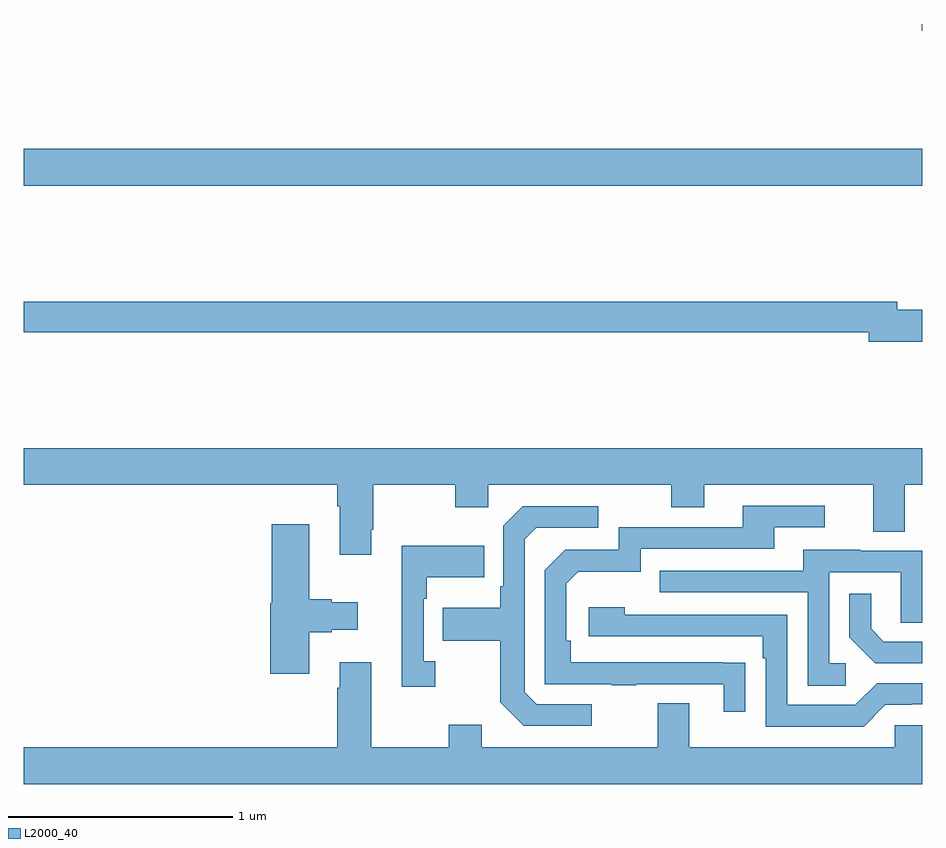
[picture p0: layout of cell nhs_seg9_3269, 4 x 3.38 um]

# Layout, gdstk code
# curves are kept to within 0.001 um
import gdstk
lib = gdstk.Library(unit=1e-6, precision=1e-09)
def R(c, l, rs):  # rectangles x0, y0, x1, y1
    for r in rs: c.add(gdstk.rectangle(r[:2], r[2:], *l))
def P(c, l, *ps):  # polygons
    for p in ps: c.add(gdstk.Polygon(p, *l))
L2000_40 = (2000, 40)

nhs_seg9_3269 = lib.new_cell('nhs_seg9_3269')
R(nhs_seg9_3269, L2000_40, [(299,1169.78,303,1169.944), (302.999,1170.47,303,1170.5)])
P(nhs_seg9_3269, L2000_40, [(303,1169.228),(302.89,1169.228),(302.89,1169.264),(299,1169.264),(299,1169.128),(302.762,1169.128),(302.762,1169.086),(303,1169.086)],
  [(300.547,1168.249),(300.555,1168.249),(300.555,1168.448),(300.922,1168.448),(300.922,1168.349),(301.068,1168.349),(301.068,1168.448),(301.882,1168.448),(301.882,1168.349),(302.029,1168.349),(302.029,1168.448),(302.783,1168.448),(302.783,1168.24),(302.923,1168.24),(302.923,1168.448),(303,1168.448),(303,1168.612),(299,1168.612),(299,1168.448),(300.395,1168.448),(300.395,1168.352),(300.407,1168.352),(300.407,1168.137),(300.547,1168.137)],
  [(302.213,1167.656),(301.436,1167.657),(301.436,1167.754),(301.416,1167.754),(301.416,1168.008),(301.469,1168.061),(301.746,1168.061),(301.746,1168.164),(302.341,1168.164),(302.341,1168.26),(302.566,1168.26),(302.566,1168.356),(302.201,1168.356),(302.201,1168.26),(301.65,1168.26),(301.65,1168.158),(301.41,1168.158),(301.32,1168.068),(301.32,1167.561),(301.615,1167.561),(301.615,1167.556),(301.727,1167.556),(301.727,1167.561),(302.117,1167.561),(302.117,1167.438),(302.213,1167.438)],
  [(301.528,1167.471),(301.284,1167.471),(301.23,1167.525),(301.23,1168.206),(301.281,1168.257),(301.558,1168.257),(301.558,1168.353),(301.221,1168.353),(301.134,1168.266),(301.134,1167.997),(301.122,1167.997),(301.122,1167.901),(300.865,1167.901),(300.865,1167.754),(301.122,1167.754),(301.122,1167.481),(301.227,1167.375),(301.528,1167.375)],
  [(300.271,1167.791),(300.371,1167.791),(300.371,1167.803),(300.487,1167.803),(300.487,1167.925),(300.371,1167.925),(300.371,1167.938),(300.271,1167.938),(300.271,1168.273),(300.104,1168.273),(300.104,1167.921),(300.098,1167.921),(300.098,1167.606),(300.271,1167.606)],
  [(300.832,1167.662),(300.78,1167.662),(300.78,1167.941),(300.793,1167.941),(300.793,1168.037),(301.049,1168.037),(301.049,1168.177),(300.683,1168.177),(300.683,1167.549),(300.832,1167.549)],
  [(302.659,1167.654),(302.586,1167.654),(302.586,1168.059),(302.904,1168.059),(302.904,1167.835),(303,1167.835),(303,1168.155),(302.725,1168.155),(302.725,1168.159),(302.471,1168.159),(302.471,1168.065),(301.831,1168.065),(301.831,1167.969),(302.49,1167.969),(302.49,1167.553),(302.659,1167.553)],
  [(303,1167.75),(302.83,1167.75),(302.773,1167.807),(302.773,1167.964),(302.676,1167.964),(302.676,1167.77),(302.792,1167.654),(303,1167.654)],
  [(302.835,1167.468),(302.954,1167.468),(302.954,1167.471),(303,1167.471),(303,1167.564),(302.799,1167.564),(302.703,1167.468),(302.4,1167.468),(302.4,1167.87),(301.676,1167.87),(301.676,1167.904),(301.515,1167.904),(301.515,1167.774),(302.291,1167.774),(302.291,1167.677),(302.304,1167.677),(302.304,1167.372),(302.739,1167.372)],
  [(303,1167.378),(302.877,1167.378),(302.877,1167.28),(301.963,1167.28),(301.963,1167.475),(301.823,1167.475),(301.823,1167.28),(301.039,1167.28),(301.039,1167.379),(300.892,1167.379),(300.892,1167.28),(300.547,1167.28),(300.547,1167.658),(300.407,1167.658),(300.407,1167.545),(300.395,1167.545),(300.395,1167.28),(299,1167.28),(299,1167.116),(303,1167.116)])

lib.write_gds('nhs_seg9_3269.gds')
